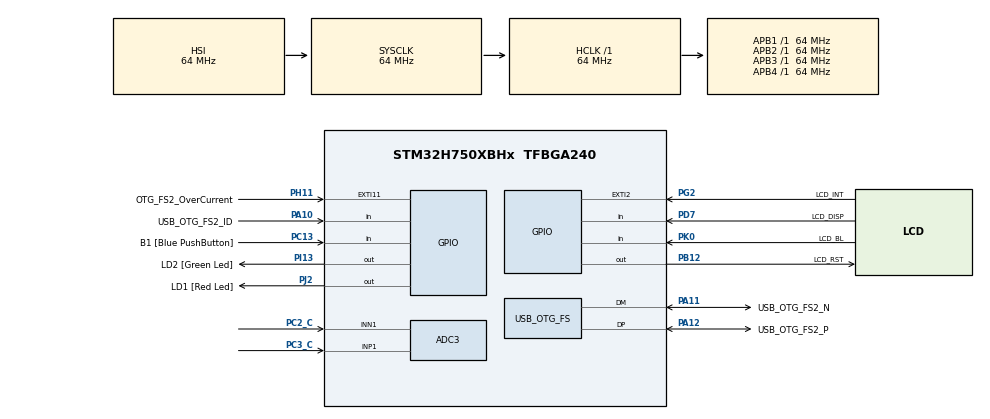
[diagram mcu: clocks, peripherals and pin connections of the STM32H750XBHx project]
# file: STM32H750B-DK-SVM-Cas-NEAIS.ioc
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ADC3.Channel-0\#ChannelRegularConversion=ADC_CHANNEL_1
ADC3.NbrOfConversionFlag=1
ADC3.OffsetNumber-0\#ChannelRegularConversion=ADC_OFFSET_NONE
ADC3.Rank-0\#ChannelRegularConversion=1
ADC3.SamplingTime-0\#ChannelRegularConversion=ADC_SAMPLETIME_1CYCLE_5
ADC3.SingleDiff-0\#ChannelRegularConversion=ADC_DIFFERENTIAL_ENDED
Mcu.Family=STM32H7
Mcu.Name=STM32H750XBHx
Mcu.Package=TFBGA240
NVIC.OTG_FS_IRQn=true\:0\:0\:false\:false\:true\:false\:true\:true
NVIC.PriorityGroup=NVIC_PRIORITYGROUP_4
PA0_C.Signal=ADCx_INP0
PA1.GPIO_Label=MII_RX_CLK
PA1.Signal=ETH_RX_CLK
PA10.GPIO_Label=USB_OTG_FS2_ID
PA10.Signal=GPIO_Input
PA11.GPIO_Label=USB_OTG_FS2_N
PA11.Mode=Device_Only
PA11.Signal=USB_OTG_FS_DM
PA12.GPIO_Label=USB_OTG_FS2_P
PA12.Mode=Device_Only
PA12.Signal=USB_OTG_FS_DP
PA1_C.Signal=ADCx_INP1
PA2.GPIO_Label=MII_MDIO
PA2.Signal=ETH_MDIO
PA6.Signal=S_TIM13_CH1
PA7.GPIO_Label=MII_RX_DV
PA7.Signal=ETH_RX_DV
PA8.Signal=S_TIM1_CH1
PA9.GPIO_Label=VBUS_FS2
PA9.Signal=USB_OTG_FS_VBUS
PB0.GPIO_Label=MII_RX_D2
PB0.Signal=ETH_RXD2
PB1.GPIO_Label=MII_RX_D3
PB1.Signal=ETH_RXD3
PB10.GPIO_Label=VCP_TX
PB10.Signal=USART3_TX
PB11.GPIO_Label=VCP_RX
PB11.Signal=USART3_RX
PB12.GPIO_Label=LCD_RST
PB12.Signal=GPIO_Output
PB13.GPIO_Label=FDCAN2_TX
PB13.Signal=FDCAN2_TX
PB15.Signal=SPI2_MOSI
PB4\ (NJTRST).Signal=SPI2_NSS
PB5.GPIO_Label=FDCAN2_RX
PB5.Signal=FDCAN2_RX
PB6.Signal=QUADSPI_BK1_NCS
PB8.GPIO_Label=SDIO1_D4
PB8.Signal=SDMMC1_D4
PB9.GPIO_Label=SDIO1_D5
PB9.Signal=SDMMC1_D5
PC0.Signal=ADCx_INP10
PC1.GPIO_Label=MII_MDC
PC1.Signal=ETH_MDC
PC10.GPIO_Label=SDIO1_D2
PC10.Signal=SDMMC1_D2
PC11.GPIO_Label=SDIO1_D3
PC11.Signal=SDMMC1_D3
PC12.GPIO_Label=SDIO1_CK
PC12.Signal=SDMMC1_CK
PC13.GPIO_Label=B1 [Blue PushButton]
PC13.Signal=GPIO_Input
PC14-OSC32_IN\ (OSC32_IN).GPIO_Label=OSC32_IN
PC14-OSC32_IN\ (OSC32_IN).Mode=LSE-External-Clock-Source
PC14-OSC32_IN\ (OSC32_IN).Signal=RCC_OSC32_IN
PC15-OSC32_OUT\ (OSC32_OUT).GPIO_Label=OSC32_OUT
PC15-OSC32_OUT\ (OSC32_OUT).Signal=RCC_OSC32_OUT
PC2.GPIO_Label=MII_TXD2
PC2.Signal=ETH_TXD2
PC2_C.Signal=SharedAnalog_PC2
PC3.GPIO_Label=MII_TX_CLK
PC3.Signal=ETH_TX_CLK
PC3_C.Mode=IN1-Differential
PC3_C.Signal=ADC3_INP1
PC4.GPIO_Label=MII_RXD0
PC4.Signal=ETH_RXD0
PC5.GPIO_Label=MII_RXD1
PC5.Signal=ETH_RXD1
PC6.GPIO_Label=SDIO1_D6
PC6.Signal=SDMMC1_D6
PC7.GPIO_Label=SDIO1_D7
PC7.Signal=SDMMC1_D7
PC8.GPIO_Label=SDIO1_D0
PC8.Signal=SDMMC1_D0
PC9.GPIO_Label=SDIO1_D1
PC9.Signal=SDMMC1_D1
PD0.Signal=FMC_D2_DA2
PD1.Signal=FMC_D3_DA3
PD10.Signal=FMC_D15_DA15
PD11.Signal=QUADSPI_BK1_IO0
PD14.Signal=FMC_D0_DA0
PD15.Signal=FMC_D1_DA1
PD2.GPIO_Label=SDIO1_CMD
PD2.Signal=SDMMC1_CMD
PD3.Signal=SPI2_SCK
PD7.GPIO_Label=LCD_DISP
PD7.Signal=GPIO_Input
PD8.Signal=FMC_D13_DA13
PD9.Signal=FMC_D14_DA14
PE0.Signal=FMC_NBL0
PE1.Signal=FMC_NBL1
PE10.Signal=FMC_D7_DA7
PE11.Signal=FMC_D8_DA8
PE12.Signal=FMC_D9_DA9
PE13.Signal=FMC_D10_DA10
PE14.Signal=FMC_D11_DA11
PE15.Signal=FMC_D12_DA12
PE2.GPIO_Label=MII_TXD3
PE2.Signal=ETH_TXD3
PE4.Signal=SAI4_D2
PE5.Signal=SAI4_CK2
PE7.Signal=FMC_D4_DA4
PE8.Signal=FMC_D5_DA5
PE9.Signal=FMC_D6_DA6
PF0.Signal=FMC_A0
PF1.Signal=FMC_A1
PF10.Signal=QUADSPI_CLK
PF11.Signal=FMC_SDNRAS
PF12.Signal=FMC_A6
PF13.Signal=FMC_A7
PF14.Signal=FMC_A8
PF15.Signal=FMC_A9
PF2.Signal=FMC_A2
PF3.Signal=FMC_A3
PF4.Signal=FMC_A4
PF5.Signal=FMC_A5
PF6.Signal=QUADSPI_BK1_IO3
PF7.Signal=QUADSPI_BK1_IO2
PF8.Signal=ADC3_INP7
PF9.Signal=QUADSPI_BK1_IO1
PG0.Signal=FMC_A10
PG1.Signal=FMC_A11
PG10.Signal=SAI2_SD_B
PG11.GPIO_Label=MII_TX_EN
PG11.Signal=ETH_TX_EN
PG12.GPIO_Label=MII_TXD1
PG12.Signal=ETH_TXD1
PG13.GPIO_Label=MII_TXD0
PG13.Signal=ETH_TXD0
PG15.Signal=FMC_SDNCAS
PG2.GPIO_Label=LCD_INT
PG2.Signal=GPXTI2
PG4.Signal=FMC_A14_BA0
PG5.Signal=FMC_A15_BA1
PG8.Signal=FMC_SDCLK
PH0-OSC_IN\ (PH0).GPIO_Label=OSC_IN
PH0-OSC_IN\ (PH0).Mode=HSE-External-Clock-Source
PH0-OSC_IN\ (PH0).Signal=RCC_OSC_IN
PH1-OSC_OUT\ (PH1).GPIO_Label=OSC_OUT
PH1-OSC_OUT\ (PH1).Signal=RCC_OSC_OUT
PH11.GPIO_Label=OTG_FS2_OverCurrent
PH11.Signal=GPXTI11
PH13.GPIO_Label=FDCAN1_TX
PH13.Signal=FDCAN1_TX
PH14.GPIO_Label=FDCAN1_RX
PH14.Signal=FDCAN1_RX
PH15.Signal=TIM8_CH3N
PH2.GPIO_Label=MII_CRS
PH2.Signal=ETH_CRS
PH3.GPIO_Label=MII_COL
PH3.Signal=ETH_COL
PH5.Signal=FMC_SDNWE
PH6.Signal=FMC_SDNE1
PH7.Signal=FMC_SDCKE1
PH9.Signal=LTDC_R3
PI0.Signal=LTDC_G5
PI1.Signal=LTDC_G6
PI10.GPIO_Label=MII_RX_ER
PI10.Signal=ETH_RX_ER
PI12.Signal=LTDC_HSYNC
PI13.GPIO_Label=LD2 [Green Led]
PI13.Signal=GPIO_Output
PI14.Signal=LTDC_CLK
PI15.Signal=LTDC_R0
PI2.Signal=SPI2_MISO
PI4.Signal=SAI2_MCLK_A
PI5.Signal=SAI2_SCK_A
PI6.Signal=SAI2_SD_A
PI7.Signal=SAI2_FS_A
PI9.Signal=LTDC_VSYNC
PJ0.Signal=LTDC_R1
PJ1.Signal=LTDC_R2
PJ10.Signal=LTDC_G3
PJ11.Signal=LTDC_G4
PJ12.Signal=LTDC_B0
PJ13.Signal=LTDC_B1
PJ14.Signal=LTDC_B2
PJ15.GPIO_Label=LCD_DISP
PJ15.Signal=LTDC_B3
PJ2.GPIO_Label=LD1 [Red Led]
PJ2.Signal=GPIO_Output
PJ3.Signal=LTDC_R4
PJ4.Signal=LTDC_R5
PJ5.Signal=LTDC_R6
PJ6.Signal=LTDC_R7
PJ7.Signal=LTDC_G0
PJ8.Signal=LTDC_G1
PJ9.Signal=LTDC_G2
PK0.GPIO_Label=LCD_BL
PK0.Signal=GPIO_Input
PK2.Signal=LTDC_G7
PK3.Signal=LTDC_B4
PK4.Signal=LTDC_B5
PK5.Signal=LTDC_B6
PK6.Signal=LTDC_B7
PK7.Signal=LTDC_DE
ProjectManager.HeapSize=0x200
ProjectManager.StackSize=0x400
ProjectManager.TargetToolchain=STM32CubeIDE
RCC.ADCFreq_Value=37500000
RCC.APB1Freq_Value=64000000
RCC.APB2Freq_Value=64000000
RCC.APB3Freq_Value=64000000
RCC.APB4Freq_Value=64000000
RCC.CortexFreq_Value=64000000
RCC.DIVM1=22
RCC.DIVM2=2
RCC.DIVN1=169
RCC.DIVN2=12
RCC.DIVP2=4
RCC.DIVQ1=4
RCC.HCLKFreq_Value=64000000
RCC.PLL2FRACN=0
RCC.PLL3FRACN=0
RCC.PLLFRACN=0
RCC.PLLSourceVirtual=RCC_PLLSOURCE_HSE
RCC.SYSCLKFreq_VALUE=64000000
RCC.USBFreq_Value=48011363.63636364
SH.ADCx_INP0.0=ADC1_INP0
SH.ADCx_INP0.1=ADC2_INP0
SH.ADCx_INP1.0=ADC1_INP1
SH.ADCx_INP1.1=ADC2_INP1
SH.ADCx_INP10.0=ADC1_INP10
SH.ADCx_INP10.1=ADC3_INP10
SH.FMC_A0.0=FMC_A0
SH.FMC_A1.0=FMC_A1
SH.FMC_A10.0=FMC_A10
SH.FMC_A11.0=FMC_A11
SH.FMC_A14_BA0.0=FMC_BA0
SH.FMC_A15_BA1.0=FMC_BA1
SH.FMC_A2.0=FMC_A2
SH.FMC_A3.0=FMC_A3
SH.FMC_A4.0=FMC_A4
SH.FMC_A5.0=FMC_A5
SH.FMC_A6.0=FMC_A6
SH.FMC_A7.0=FMC_A7
SH.FMC_A8.0=FMC_A8
SH.FMC_A9.0=FMC_A9
SH.FMC_D0_DA0.0=FMC_D0
SH.FMC_D10_DA10.0=FMC_D10
SH.FMC_D11_DA11.0=FMC_D11
SH.FMC_D12_DA12.0=FMC_D12
SH.FMC_D13_DA13.0=FMC_D13
SH.FMC_D14_DA14.0=FMC_D14
SH.FMC_D15_DA15.0=FMC_D15
SH.FMC_D1_DA1.0=FMC_D1
SH.FMC_D2_DA2.0=FMC_D2
SH.FMC_D3_DA3.0=FMC_D3
SH.FMC_D4_DA4.0=FMC_D4
SH.FMC_D5_DA5.0=FMC_D5
SH.FMC_D6_DA6.0=FMC_D6
SH.FMC_D7_DA7.0=FMC_D7
SH.FMC_D8_DA8.0=FMC_D8
SH.FMC_D9_DA9.0=FMC_D9
SH.FMC_NBL0.0=FMC_NBL0
SH.FMC_NBL1.0=FMC_NBL1
SH.FMC_SDCLK.0=FMC_SDCLK
SH.FMC_SDNCAS.0=FMC_SDNCAS
SH.FMC_SDNRAS.0=FMC_SDNRAS
SH.FMC_SDNWE.0=FMC_SDNWE
SH.S_TIM13_CH1.0=TIM13_CH1
SH.S_TIM1_CH1.0=TIM1_CH1
SH.SharedAnalog_PC2.0=ADC3_INP0
SH.SharedAnalog_PC2.1=ADC3_INN1,IN1-Differential
TIM16.Prescaler=64 - 1
USB_DEVICE.CLASS_NAME_FS=CDC
USB_DEVICE.VirtualMode-CDC_FS=Cdc
USB_DEVICE.VirtualModeFS=Cdc_FS
USB_OTG_FS.VirtualMode=Device_Only
VP_TIM16_VS_ClockSourceINT.Mode=Enable_Timer
VP_USB_DEVICE_VS_USB_DEVICE_CDC_FS.Mode=CDC_FS
board=STM32H750B-DK

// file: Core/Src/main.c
/* USER CODE BEGIN Header */
/**
  ******************************************************************************
  * @file           : main.c
  * @brief          : Main program body
  ******************************************************************************
  * @attention
  *
  * Copyright (c) 2023 STMicroelectronics.
  * All rights reserved.
  *
  * This software is licensed under terms that can be found in the LICENSE file
  * in the root directory of this software component.
  * If no LICENSE file comes with this software, it is provided AS-IS.
  *
  ******************************************************************************
  */
/* USER CODE END Header */
#include "main.h"
#include "usb_device.h"

/* USER CODE BEGIN Includes */

#include "NanoEdgeAI.h"
#include "knowledge.h"

/* USER CODE END Includes */

/* USER CODE BEGIN PD */

#define SIGNAL_SIZE (uint32_t)(DATA_INPUT_USER * AXIS_NUMBER)

uint16_t id_class = 0; // Point to id class (see argument of neai_classification fct)
float input_user_buffer[DATA_INPUT_USER * AXIS_NUMBER]; // Buffer of input values
float output_class_buffer[CLASS_NUMBER]; // Buffer of class probabilities
const char *id2class[CLASS_NUMBER + 1] = { // Buffer for mapping class id to class name
	"unknown",
	"mirovanje",
	"srednja_jakost",
	"velika_jakost",
};

#define BUFSIZE 256
char	SendBuffer[BUFSIZE];

int counterOfTestData = 0;

int numberOfDurations = 100;
uint32_t averageDurationValue = 0;
int countDurations = 0;

float testData[] = {2.466293163028155e-07, 2.453839476057596e-07, 1.787794572383206e-07, 4.025996696022105e-07, 1.0707693554046216e-06,
		2.729905010934175e-07, 1.3036247592523864e-07, 2.2338122973586397e-07, 1.3165442847018485e-07, 2.3984931973863866e-07, 2.1334496858038682e-07,
		2.0199179706636985e-07, 1.7792400686111878e-07, 1.9232686399028864e-07, 2.239820435789852e-07, 2.470156319489547e-07, 2.1608693634433962e-07,
		1.7976643729156194e-07, 2.502192206765841e-07, 2.4656127273203765e-07, 2.252821247328285e-07, 1.785019880795602e-07, 2.3686227113017821e-07,
		2.3654482861346082e-07, 2.4569974921284654e-07, 2.477296949798813e-07, 2.4756893313160333e-07, 2.448707572266784e-07, 2.4626766670365896e-07,
		2.530734666272849e-07, 2.416840203522952e-07, 2.2586991166306802e-07, 2.4109893281831773e-07, 2.4725173841666503e-07, 2.349033894066821e-07,
		2.45674404153462e-07, 2.4842346468823e-07, 2.2700569490829994e-07, 2.449630338574593e-07, 2.2648041730910506e-07, 2.4978005619402666e-07,
		2.2830073342916535e-07, 2.484234651323192e-07, 2.4574360790730054e-07, 2.5076875354024253e-07, 2.1554745943674905e-07, 2.3641005797436779e-07,
		2.3391676284845173e-07, 2.375023833156576e-07, 1.5416373022603125e-07, 2.495342270592005e-07, 2.362046149784192e-07, 2.499518234611031e-07,
		2.505450524825648e-07, 2.509931722460834e-07, 2.491407766758158e-07, 1.9851194132947117e-07, 2.491465669329785e-07, 2.5081921317671174e-07,
		2.230854252438519e-07, 0.256451198750973, 1.1918942990122336, 1.0293003995621546, 0.5689617519490024, 0.4849488920212286, 0.8396363990899536,
		0.6201024630104675, 0.2451725748990894, 0.1538014389798288, 0.3742534809190609, 0.5182572232891705, 0.3480426817181965, 0.8115067232967563,
		0.6440393256179897, 0.1044263809635388, 0.1330492127410241, 0.781979073977197, 0.7378801145093243, 0.4570705142392151, 0.3131418982694898,
		0.1969119773092773, 0.826044266643114, 0.7284551128741812, 0.2382233256152621, 0.1390090133653458, 0.0967863205089494, 0.0532680353946934,
		0.0615622048812092, 0.0655417319083651, 0.5180131893866129, 0.6762755065587278, 0.5565364882091748, 0.909664035907487, 0.226389319235484,
		0.1699153034065674, 0.0739804613826047, 0.1295739706696399, 0.1594842793529687, 0.112173366179002, 0.1551887258876765, 0.1649648111876471,
		0.1662311079016247, 0.1639636668152082, 0.1285992730326559, 0.3524494340078083, 0.2946016053366929, 0.4758711215421314, 0.697207179349093,
		0.2949559494226179, 0.059913021111474, 0.0664212463374218, 0.6256707359550862, 0.4341567752196935, 0.1017664851436492, 0.2240307047976015,
		0.2810140341420828, 0.05051557143033, 0.1204609548782085, 0.2399269996401658, 0.1730092414374542, 0.09235465924514, 0.076406017545473,
		0.070062006369594, 0.1403729124741943, 0.1165051791192288, 0.0214672249327163, 0.0104785010609842, 0.0512318323245908, 0.1345758672777912,
		0.0932879022140888, 0.012836055578719, 0.0018102213035029, 0.0026657752970722, 0.0044054513831612, 0.1395531316215335, 0.1767293099454576,
		0.0285507970958898, 0.0091906895773383, 0.0031080255712305, 0.0042489372701792, 0.001605549966819, 0.0023704671795079, 0.0090257444695729,
		0.0043746818613776, 0.0056423240470078, 0.0327811373680542, 0.0713568244450605, 0.0155183904590678, 0.0142869387992841, 0.0171313901070397,
		0.0016316366637376, 0.0021597943589866, 0.0039313461873593, 0.0145222488013982, 0.0148580110788096, 0.0113824855963475, 0.0070561603245047,
		0.0030164582616158, 0.1358820693679601, 0.0815997292981953, 0.1529422670098137, 0.1630049114280112, 0.0065703476146865, 0.0078270896795291,
		0.0069769410286295, 0.0029278877516287, 0.0015234274508855, 0.0012565872701151, 0.0035783151031552, 0.010224420781147, 0.0623567194972176,
		0.1401663850253749, 0.1055609897804381, 0.0910324363731371, 0.0280231276892524, 0.0192889164056884, 0.0211591592717421, 0.0201516400389976,
		0.0203900934865008, 0.0205685504661767, 0.0245678338462753, 0.0224581217865558, 0.015439502276715, 0.0068437521567108};

int sizeOfTestData = sizeof(testData) / sizeof(testData[0]);

uint32_t timestamp;

/* USER CODE END PD */

ADC_HandleTypeDef hadc3;

TIM_HandleTypeDef htim16;

void SystemClock_Config(void);
static void MX_GPIO_Init(void);
static void MX_ADC3_Init(void);
static void MX_TIM16_Init(void);
/* USER CODE BEGIN PFP */

void FillBuffer(float* buffer, uint32_t size);
void Inference(void);

/* USER CODE END PFP */

int main(void)
{

  /* MCU Configuration--------------------------------------------------------*/

  /* Reset of all peripherals, Initializes the Flash interface and the Systick. */
  HAL_Init();

  /* Configure the system clock */
  SystemClock_Config();

  /* Initialize all configured peripherals */
  MX_GPIO_Init();
  MX_ADC3_Init();
  MX_TIM16_Init();
  MX_USB_DEVICE_Init();

  /* Infinite loop */
  /* USER CODE BEGIN WHILE */

  HAL_TIM_Base_Start(&htim16);

     enum neai_state error_code = neai_classification_init(knowledge);
       if(error_code != NEAI_OK) {
     	  snprintf(SendBuffer,BUFSIZE,"Napaka pri inicializaciji znanja. \r\n");
     	  CDC_Transmit_FS(SendBuffer,strlen(SendBuffer));

     	  Error_Handler();
       }
       else {
     	  snprintf(SendBuffer,BUFSIZE,"Opravljena inicializacija znanja. \r\n");
     	  CDC_Transmit_FS(SendBuffer,strlen(SendBuffer));
       }

  while (1)
  {
	  Inference();
    /* USER CODE END WHILE */

  }
}

void SystemClock_Config(void)
{
  RCC_OscInitTypeDef RCC_OscInitStruct = {0};
  RCC_ClkInitTypeDef RCC_ClkInitStruct = {0};

  /** Supply configuration update enable
  */
  HAL_PWREx_ConfigSupply(PWR_LDO_SUPPLY);

  /** Configure the main internal regulator output voltage
  */
  __HAL_PWR_VOLTAGESCALING_CONFIG(PWR_REGULATOR_VOLTAGE_SCALE3);

  while(!__HAL_PWR_GET_FLAG(PWR_FLAG_VOSRDY)) {}

  /** Initializes the RCC Oscillators according to the specified parameters
  * in the RCC_OscInitTypeDef structure.
  */
  RCC_OscInitStruct.OscillatorType = RCC_OSCILLATORTYPE_HSI|RCC_OSCILLATORTYPE_HSE;
  RCC_OscInitStruct.HSEState = RCC_HSE_BYPASS;
  RCC_OscInitStruct.HSIState = RCC_HSI_DIV1;
  RCC_OscInitStruct.HSICalibrationValue = RCC_HSICALIBRATION_DEFAULT;
  RCC_OscInitStruct.PLL.PLLState = RCC_PLL_ON;
  RCC_OscInitStruct.PLL.PLLSource = RCC_PLLSOURCE_HSE;
  RCC_OscInitStruct.PLL.PLLM = 22;
  RCC_OscInitStruct.PLL.PLLN = 169;
  RCC_OscInitStruct.PLL.PLLP = 2;
  RCC_OscInitStruct.PLL.PLLQ = 4;
  RCC_OscInitStruct.PLL.PLLR = 2;
  RCC_OscInitStruct.PLL.PLLRGE = RCC_PLL1VCIRANGE_0;
  RCC_OscInitStruct.PLL.PLLVCOSEL = RCC_PLL1VCOWIDE;
  RCC_OscInitStruct.PLL.PLLFRACN = 0;
  if (HAL_RCC_OscConfig(&RCC_OscInitStruct) != HAL_OK)
  {
    Error_Handler();
  }

  /** Initializes the CPU, AHB and APB buses clocks
  */
  RCC_ClkInitStruct.ClockType = RCC_CLOCKTYPE_HCLK|RCC_CLOCKTYPE_SYSCLK
                              |RCC_CLOCKTYPE_PCLK1|RCC_CLOCKTYPE_PCLK2
                              |RCC_CLOCKTYPE_D3PCLK1|RCC_CLOCKTYPE_D1PCLK1;
  RCC_ClkInitStruct.SYSCLKSource = RCC_SYSCLKSOURCE_HSI;
  RCC_ClkInitStruct.SYSCLKDivider = RCC_SYSCLK_DIV1;
  RCC_ClkInitStruct.AHBCLKDivider = RCC_HCLK_DIV1;
  RCC_ClkInitStruct.APB3CLKDivider = RCC_APB3_DIV1;
  RCC_ClkInitStruct.APB1CLKDivider = RCC_APB1_DIV1;
  RCC_ClkInitStruct.APB2CLKDivider = RCC_APB2_DIV1;
  RCC_ClkInitStruct.APB4CLKDivider = RCC_APB4_DIV1;

  if (HAL_RCC_ClockConfig(&RCC_ClkInitStruct, FLASH_LATENCY_1) != HAL_OK)
  {
    Error_Handler();
  }
}

static void MX_ADC3_Init(void)
{

  ADC_ChannelConfTypeDef sConfig = {0};

  /** Common config
  */
  hadc3.Instance = ADC3;
  hadc3.Init.Resolution = ADC_RESOLUTION_16B;
  hadc3.Init.ScanConvMode = ADC_SCAN_DISABLE;
  hadc3.Init.EOCSelection = ADC_EOC_SINGLE_CONV;
  hadc3.Init.LowPowerAutoWait = DISABLE;
  hadc3.Init.ContinuousConvMode = DISABLE;
  hadc3.Init.NbrOfConversion = 1;
  hadc3.Init.DiscontinuousConvMode = DISABLE;
  hadc3.Init.ExternalTrigConv = ADC_SOFTWARE_START;
  hadc3.Init.ExternalTrigConvEdge = ADC_EXTERNALTRIGCONVEDGE_NONE;
  hadc3.Init.ConversionDataManagement = ADC_CONVERSIONDATA_DR;
  hadc3.Init.Overrun = ADC_OVR_DATA_PRESERVED;
  hadc3.Init.LeftBitShift = ADC_LEFTBITSHIFT_NONE;
  hadc3.Init.OversamplingMode = DISABLE;
  if (HAL_ADC_Init(&hadc3) != HAL_OK)
  {
    Error_Handler();
  }

  /** Configure Regular Channel
  */
  sConfig.Channel = ADC_CHANNEL_1;
  sConfig.Rank = ADC_REGULAR_RANK_1;
  sConfig.SamplingTime = ADC_SAMPLETIME_1CYCLE_5;
  sConfig.SingleDiff = ADC_DIFFERENTIAL_ENDED;
  sConfig.OffsetNumber = ADC_OFFSET_NONE;
  sConfig.Offset = 0;
  sConfig.OffsetSignedSaturation = DISABLE;
  if (HAL_ADC_ConfigChannel(&hadc3, &sConfig) != HAL_OK)
  {
    Error_Handler();
  }

}

static void MX_TIM16_Init(void)
{

  htim16.Instance = TIM16;
  htim16.Init.Prescaler = 64 - 1;
  htim16.Init.CounterMode = TIM_COUNTERMODE_UP;
  htim16.Init.Period = 65535;
  htim16.Init.ClockDivision = TIM_CLOCKDIVISION_DIV1;
  htim16.Init.RepetitionCounter = 0;
  htim16.Init.AutoReloadPreload = TIM_AUTORELOAD_PRELOAD_DISABLE;
  if (HAL_TIM_Base_Init(&htim16) != HAL_OK)
  {
    Error_Handler();
  }

}

static void MX_GPIO_Init(void)
{
  GPIO_InitTypeDef GPIO_InitStruct = {0};

  /* GPIO Ports Clock Enable */
  __HAL_RCC_GPIOI_CLK_ENABLE();
  __HAL_RCC_GPIOB_CLK_ENABLE();
  __HAL_RCC_GPIOK_CLK_ENABLE();
  __HAL_RCC_GPIOG_CLK_ENABLE();
  __HAL_RCC_GPIOC_CLK_ENABLE();
  __HAL_RCC_GPIOE_CLK_ENABLE();
  __HAL_RCC_GPIOJ_CLK_ENABLE();
  __HAL_RCC_GPIOD_CLK_ENABLE();
  __HAL_RCC_GPIOH_CLK_ENABLE();
  __HAL_RCC_GPIOA_CLK_ENABLE();
  __HAL_RCC_GPIOF_CLK_ENABLE();

  /*Configure GPIO pin Output Level */
  HAL_GPIO_WritePin(LD2_GPIO_Port, LD2_Pin, GPIO_PIN_RESET);

  /*Configure GPIO pin Output Level */
  HAL_GPIO_WritePin(LD1_GPIO_Port, LD1_Pin, GPIO_PIN_RESET);

  /*Configure GPIO pin Output Level */
  HAL_GPIO_WritePin(LCD_RST_GPIO_Port, LCD_RST_Pin, GPIO_PIN_RESET);

  /*Configure GPIO pins : PI6 PI5 PI4 PI7 */
  GPIO_InitStruct.Pin = GPIO_PIN_6|GPIO_PIN_5|GPIO_PIN_4|GPIO_PIN_7;
  GPIO_InitStruct.Mode = GPIO_MODE_AF_PP;
  GPIO_InitStruct.Pull = GPIO_NOPULL;
  GPIO_InitStruct.Speed = GPIO_SPEED_FREQ_LOW;
  GPIO_InitStruct.Alternate = GPIO_AF10_SAI2;
  HAL_GPIO_Init(GPIOI, &GPIO_InitStruct);

  /*Configure GPIO pins : FDCAN2_RX_Pin FDCAN2_TX_Pin */
  GPIO_InitStruct.Pin = FDCAN2_RX_Pin|FDCAN2_TX_Pin;
  GPIO_InitStruct.Mode = GPIO_MODE_AF_PP;
  GPIO_InitStruct.Pull = GPIO_NOPULL;
  GPIO_InitStruct.Speed = GPIO_SPEED_FREQ_LOW;
  GPIO_InitStruct.Alternate = GPIO_AF9_FDCAN2;
  HAL_GPIO_Init(GPIOB, &GPIO_InitStruct);

  /*Configure GPIO pins : PK5 PK4 PK6 PK3
                           PK7 PK2 */
  GPIO_InitStruct.Pin = GPIO_PIN_5|GPIO_PIN_4|GPIO_PIN_6|GPIO_PIN_3
                          |GPIO_PIN_7|GPIO_PIN_2;
  GPIO_InitStruct.Mode = GPIO_MODE_AF_PP;
  GPIO_InitStruct.Pull = GPIO_NOPULL;
  GPIO_InitStruct.Speed = GPIO_SPEED_FREQ_LOW;
  GPIO_InitStruct.Alternate = GPIO_AF14_LTDC;
  HAL_GPIO_Init(GPIOK, &GPIO_InitStruct);

  /*Configure GPIO pin : PG10 */
  GPIO_InitStruct.Pin = GPIO_PIN_10;
  GPIO_InitStruct.Mode = GPIO_MODE_AF_PP;
  GPIO_InitStruct.Pull = GPIO_NOPULL;
  GPIO_InitStruct.Speed = GPIO_SPEED_FREQ_LOW;
  GPIO_InitStruct.Alternate = GPIO_AF10_SAI2;
  HAL_GPIO_Init(GPIOG, &GPIO_InitStruct);

  /*Configure GPIO pins : SDIO1_D2_Pin SDIO1_D3_Pin SDIO1_CK_Pin SDIO1_D0_Pin
                           SDIO1_D1_Pin SDIO1_D7_Pin SDIO1_D6_Pin */
  GPIO_InitStruct.Pin = SDIO1_D2_Pin|SDIO1_D3_Pin|SDIO1_CK_Pin|SDIO1_D0_Pin
                          |SDIO1_D1_Pin|SDIO1_D7_Pin|SDIO1_D6_Pin;
  GPIO_InitStruct.Mode = GPIO_MODE_AF_PP;
  GPIO_InitStruct.Pull = GPIO_NOPULL;
  GPIO_InitStruct.Speed = GPIO_SPEED_FREQ_VERY_HIGH;
  GPIO_InitStruct.Alternate = GPIO_AF12_SDIO1;
  HAL_GPIO_Init(GPIOC, &GPIO_InitStruct);

  /*Configure GPIO pins : PI1 PI0 PI9 PI12
                           PI14 PI15 */
  GPIO_InitStruct.Pin = GPIO_PIN_1|GPIO_PIN_0|GPIO_PIN_9|GPIO_PIN_12
                          |GPIO_PIN_14|GPIO_PIN_15;
  GPIO_InitStruct.Mode = GPIO_MODE_AF_PP;
  GPIO_InitStruct.Pull = GPIO_NOPULL;
  GPIO_InitStruct.Speed = GPIO_SPEED_FREQ_LOW;
  GPIO_InitStruct.Alternate = GPIO_AF14_LTDC;
  HAL_GPIO_Init(GPIOI, &GPIO_InitStruct);

  /*Configure GPIO pins : PE1 PE0 PE10 PE9
                           PE11 PE12 PE15 PE8
                           PE13 PE7 PE14 */
  GPIO_InitStruct.Pin = GPIO_PIN_1|GPIO_PIN_0|GPIO_PIN_10|GPIO_PIN_9
                          |GPIO_PIN_11|GPIO_PIN_12|GPIO_PIN_15|GPIO_PIN_8
                          |GPIO_PIN_13|GPIO_PIN_7|GPIO_PIN_14;
  GPIO_InitStruct.Mode = GPIO_MODE_AF_PP;
  GPIO_InitStruct.Pull = GPIO_NOPULL;
  GPIO_InitStruct.Speed = GPIO_SPEED_FREQ_VERY_HIGH;
  GPIO_InitStruct.Alternate = GPIO_AF12_FMC;
  HAL_GPIO_Init(GPIOE, &GPIO_InitStruct);

  /*Configure GPIO pin : PB6 */
  GPIO_InitStruct.Pin = GPIO_PIN_6;
  GPIO_InitStruct.Mode = GPIO_MODE_AF_PP;
  GPIO_InitStruct.Pull = GPIO_NOPULL;
  GPIO_InitStruct.Speed = GPIO_SPEED_FREQ_LOW;
  GPIO_InitStruct.Alternate = GPIO_AF10_QUADSPI;
  HAL_GPIO_Init(GPIOB, &GPIO_InitStruct);

  /*Configure GPIO pin : PB4 */
  GPIO_InitStruct.Pin = GPIO_PIN_4;
  GPIO_InitStruct.Mode = GPIO_MODE_AF_PP;
  GPIO_InitStruct.Pull = GPIO_NOPULL;
  GPIO_InitStruct.Speed = GPIO_SPEED_FREQ_LOW;
  GPIO_InitStruct.Alternate = GPIO_AF7_SPI2;
  HAL_GPIO_Init(GPIOB, &GPIO_InitStruct);

  /*Configure GPIO pins : MII_TX_EN_Pin MII_TXD1_Pin MII_TXD0_Pin */
  GPIO_InitStruct.Pin = MII_TX_EN_Pin|MII_TXD1_Pin|MII_TXD0_Pin;
  GPIO_InitStruct.Mode = GPIO_MODE_AF_PP;
  GPIO_InitStruct.Pull = GPIO_NOPULL;
  GPIO_InitStruct.Speed = GPIO_SPEED_FREQ_LOW;
  GPIO_InitStruct.Alternate = GPIO_AF11_ETH;
  HAL_GPIO_Init(GPIOG, &GPIO_InitStruct);

  /*Configure GPIO pins : LCD_DISP_Pin PJ14 PJ12 PJ13
                           PJ11 PJ10 PJ9 PJ0
                           PJ8 PJ7 PJ6 PJ1
                           PJ5 PJ3 PJ4 */
  GPIO_InitStruct.Pin = LCD_DISP_Pin|GPIO_PIN_14|GPIO_PIN_12|GPIO_PIN_13
                          |GPIO_PIN_11|GPIO_PIN_10|GPIO_PIN_9|GPIO_PIN_0
                          |GPIO_PIN_8|GPIO_PIN_7|GPIO_PIN_6|GPIO_PIN_1
                          |GPIO_PIN_5|GPIO_PIN_3|GPIO_PIN_4;
  GPIO_InitStruct.Mode = GPIO_MODE_AF_PP;
  GPIO_InitStruct.Pull = GPIO_NOPULL;
  GPIO_InitStruct.Speed = GPIO_SPEED_FREQ_LOW;
  GPIO_InitStruct.Alternate = GPIO_AF14_LTDC;
  HAL_GPIO_Init(GPIOJ, &GPIO_InitStruct);

  /*Configure GPIO pin : PD3 */
  GPIO_InitStruct.Pin = GPIO_PIN_3;
  GPIO_InitStruct.Mode = GPIO_MODE_AF_PP;
  GPIO_InitStruct.Pull = GPIO_NOPULL;
  GPIO_InitStruct.Speed = GPIO_SPEED_FREQ_LOW;
  GPIO_InitStruct.Alternate = GPIO_AF5_SPI2;
  HAL_GPIO_Init(GPIOD, &GPIO_InitStruct);

  /*Configure GPIO pin : PI2 */
  GPIO_InitStruct.Pin = GPIO_PIN_2;
  GPIO_InitStruct.Mode = GPIO_MODE_AF_PP;
  GPIO_InitStruct.Pull = GPIO_NOPULL;
  GPIO_InitStruct.Speed = GPIO_SPEED_FREQ_LOW;
  GPIO_InitStruct.Alternate = GPIO_AF5_SPI2;
  HAL_GPIO_Init(GPIOI, &GPIO_InitStruct);

  /*Configure GPIO pin : PH15 */
  GPIO_InitStruct.Pin = GPIO_PIN_15;
  GPIO_InitStruct.Mode = GPIO_MODE_AF_PP;
  GPIO_InitStruct.Pull = GPIO_NOPULL;
  GPIO_InitStruct.Speed = GPIO_SPEED_FREQ_LOW;
  GPIO_InitStruct.Alternate = GPIO_AF3_TIM8;
  HAL_GPIO_Init(GPIOH, &GPIO_InitStruct);

  /*Configure GPIO pins : FDCAN1_RX_Pin FDCAN1_TX_Pin */
  GPIO_InitStruct.Pin = FDCAN1_RX_Pin|FDCAN1_TX_Pin;
  GPIO_InitStruct.Mode = GPIO_MODE_AF_PP;
  GPIO_InitStruct.Pull = GPIO_NOPULL;
  GPIO_InitStruct.Speed = GPIO_SPEED_FREQ_LOW;
  GPIO_InitStruct.Alternate = GPIO_AF9_FDCAN1;
  HAL_GPIO_Init(GPIOH, &GPIO_InitStruct);

  /*Configure GPIO pin : MII_TXD3_Pin */
  GPIO_InitStruct.Pin = MII_TXD3_Pin;
  GPIO_InitStruct.Mode = GPIO_MODE_AF_PP;
  GPIO_InitStruct.Pull = GPIO_NOPULL;
  GPIO_InitStruct.Speed = GPIO_SPEED_FREQ_LOW;
  GPIO_InitStruct.Alternate = GPIO_AF11_ETH;
  HAL_GPIO_Init(MII_TXD3_GPIO_Port, &GPIO_InitStruct);

  /*Configure GPIO pin : LCD_DISPD7_Pin */
  GPIO_InitStruct.Pin = LCD_DISPD7_Pin;
  GPIO_InitStruct.Mode = GPIO_MODE_INPUT;
  GPIO_InitStruct.Pull = GPIO_NOPULL;
  HAL_GPIO_Init(LCD_DISPD7_GPIO_Port, &GPIO_InitStruct);

  /*Configure GPIO pins : PE5 PE4 */
  GPIO_InitStruct.Pin = GPIO_PIN_5|GPIO_PIN_4;
  GPIO_InitStruct.Mode = GPIO_MODE_AF_PP;
  GPIO_InitStruct.Pull = GPIO_NOPULL;
  GPIO_InitStruct.Speed = GPIO_SPEED_FREQ_LOW;
  GPIO_InitStruct.Alternate = GPIO_AF10_SAI4;
  HAL_GPIO_Init(GPIOE, &GPIO_InitStruct);

  /*Configure GPIO pins : SDIO1_D5_Pin SDIO1_D4_Pin */
  GPIO_InitStruct.Pin = SDIO1_D5_Pin|SDIO1_D4_Pin;
  GPIO_InitStruct.Mode = GPIO_MODE_AF_PP;
  GPIO_InitStruct.Pull = GPIO_NOPULL;
  GPIO_InitStruct.Speed = GPIO_SPEED_FREQ_VERY_HIGH;
  GPIO_InitStruct.Alternate = GPIO_AF12_SDIO1;
  HAL_GPIO_Init(GPIOB, &GPIO_InitStruct);

  /*Configure GPIO pins : PG15 PG8 PG5 PG4
                           PG0 PG1 */
  GPIO_InitStruct.Pin = GPIO_PIN_15|GPIO_PIN_8|GPIO_PIN_5|GPIO_PIN_4
                          |GPIO_PIN_0|GPIO_PIN_1;
  GPIO_InitStruct.Mode = GPIO_MODE_AF_PP;
  GPIO_InitStruct.Pull = GPIO_NOPULL;
  GPIO_InitStruct.Speed = GPIO_SPEED_FREQ_VERY_HIGH;
  GPIO_InitStruct.Alternate = GPIO_AF12_FMC;
  HAL_GPIO_Init(GPIOG, &GPIO_InitStruct);

  /*Configure GPIO pin : SDIO1_CMD_Pin */
  GPIO_InitStruct.Pin = SDIO1_CMD_Pin;
  GPIO_InitStruct.Mode = GPIO_MODE_AF_PP;
  GPIO_InitStruct.Pull = GPIO_NOPULL;
  GPIO_InitStruct.Speed = GPIO_SPEED_FREQ_VERY_HIGH;
  GPIO_InitStruct.Alternate = GPIO_AF12_SDIO1;
  HAL_GPIO_Init(SDIO1_CMD_GPIO_Port, &GPIO_InitStruct);

  /*Configure GPIO pins : PD0 PD1 PD15 PD14
                           PD10 PD9 PD8 */
  GPIO_InitStruct.Pin = GPIO_PIN_0|GPIO_PIN_1|GPIO_PIN_15|GPIO_PIN_14
                          |GPIO_PIN_10|GPIO_PIN_9|GPIO_PIN_8;
  GPIO_InitStruct.Mode = GPIO_MODE_AF_PP;
  GPIO_InitStruct.Pull = GPIO_NOPULL;
  GPIO_InitStruct.Speed = GPIO_SPEED_FREQ_VERY_HIGH;
  GPIO_InitStruct.Alternate = GPIO_AF12_FMC;
  HAL_GPIO_Init(GPIOD, &GPIO_InitStruct);

  /*Configure GPIO pin : USB_OTG_FS2_ID_Pin */
  GPIO_InitStruct.Pin = USB_OTG_FS2_ID_Pin;
  GPIO_InitStruct.Mode = GPIO_MODE_INPUT;
  GPIO_InitStruct.Pull = GPIO_NOPULL;
  HAL_GPIO_Init(USB_OTG_FS2_ID_GPIO_Port, &GPIO_InitStruct);

  /*Configure GPIO pin : B1_Pin */
  GPIO_InitStruct.Pin = B1_Pin;
  GPIO_InitStruct.Mode = GPIO_MODE_INPUT;
  GPIO_InitStruct.Pull = GPIO_NOPULL;
  HAL_GPIO_Init(B1_GPIO_Port, &GPIO_InitStruct);

  /*Configure GPIO pin : PA8 */
  GPIO_InitStruct.Pin = GPIO_PIN_8;
  GPIO_InitStruct.Mode = GPIO_MODE_AF_PP;
  GPIO_InitStruct.Pull = GPIO_NOPULL;
  GPIO_InitStruct.Speed = GPIO_SPEED_FREQ_LOW;
  GPIO_InitStruct.Alternate = GPIO_AF1_TIM1;
  HAL_GPIO_Init(GPIOA, &GPIO_InitStruct);

  /*Configure GPIO pin : MII_RX_ER_Pin */
  GPIO_InitStruct.Pin = MII_RX_ER_Pin;
  GPIO_InitStruct.Mode = GPIO_MODE_AF_PP;
  GPIO_InitStruct.Pull = GPIO_NOPULL;
  GPIO_InitStruct.Speed = GPIO_SPEED_FREQ_LOW;
  GPIO_InitStruct.Alternate = GPIO_AF11_ETH;
  HAL_GPIO_Init(MII_RX_ER_GPIO_Port, &GPIO_InitStruct);

  /*Configure GPIO pins : PF2 PF1 PF0 PF3
                           PF5 PF4 PF13 PF14
                           PF12 PF15 PF11 */
  GPIO_InitStruct.Pin = GPIO_PIN_2|GPIO_PIN_1|GPIO_PIN_0|GPIO_PIN_3
                          |GPIO_PIN_5|GPIO_PIN_4|GPIO_PIN_13|GPIO_PIN_14
                          |GPIO_PIN_12|GPIO_PIN_15|GPIO_PIN_11;
  GPIO_InitStruct.Mode = GPIO_MODE_AF_PP;
  GPIO_InitStruct.Pull = GPIO_NOPULL;
  GPIO_InitStruct.Speed = GPIO_SPEED_FREQ_VERY_HIGH;
  GPIO_InitStruct.Alternate = GPIO_AF12_FMC;
  HAL_GPIO_Init(GPIOF, &GPIO_InitStruct);

  /*Configure GPIO pin : LD2_Pin */
  GPIO_InitStruct.Pin = LD2_Pin;
  GPIO_InitStruct.Mode = GPIO_MODE_OUTPUT_PP;
  GPIO_InitStruct.Pull = GPIO_NOPULL;
  GPIO_InitStruct.Speed = GPIO_SPEED_FREQ_LOW;
  HAL_GPIO_Init(LD2_GPIO_Port, &GPIO_InitStruct);

  /*Configure GPIO pin : LCD_INT_Pin */
  GPIO_InitStruct.Pin = LCD_INT_Pin;
  GPIO_InitStruct.Mode = GPIO_MODE_IT_RISING;
  GPIO_InitStruct.Pull = GPIO_NOPULL;
  HAL_GPIO_Init(LCD_INT_GPIO_Port, &GPIO_InitStruct);

  /*Configure GPIO pin : LCD_BL_Pin */
  GPIO_InitStruct.Pin = LCD_BL_Pin;
  GPIO_InitStruct.Mode = GPIO_MODE_INPUT;
  GPIO_InitStruct.Pull = GPIO_NOPULL;
  HAL_GPIO_Init(LCD_BL_GPIO_Port, &GPIO_InitStruct);

  /*Configure GPIO pins : PF6 PF7 PF10 */
  GPIO_InitStruct.Pin = GPIO_PIN_6|GPIO_PIN_7|GPIO_PIN_10;
  GPIO_InitStruct.Mode = GPIO_MODE_AF_PP;
  GPIO_InitStruct.Pull = GPIO_NOPULL;
  GPIO_InitStruct.Speed = GPIO_SPEED_FREQ_LOW;
  GPIO_InitStruct.Alternate = GPIO_AF9_QUADSPI;
  HAL_GPIO_Init(GPIOF, &GPIO_InitStruct);

  /*Configure GPIO pin : PC0 */
  GPIO_InitStruct.Pin = GPIO_PIN_0;
  GPIO_InitStruct.Mode = GPIO_MODE_ANALOG;
  GPIO_InitStruct.Pull = GPIO_NOPULL;
  HAL_GPIO_Init(GPIOC, &GPIO_InitStruct);

  /*Configure GPIO pin : PF9 */
  GPIO_InitStruct.Pin = GPIO_PIN_9;
  GPIO_InitStruct.Mode = GPIO_MODE_AF_PP;
  GPIO_InitStruct.Pull = GPIO_NOPULL;
  GPIO_InitStruct.Speed = GPIO_SPEED_FREQ_LOW;
  GPIO_InitStruct.Alternate = GPIO_AF10_QUADSPI;
  HAL_GPIO_Init(GPIOF, &GPIO_InitStruct);

  /*Configure GPIO pins : MII_MDC_Pin MII_TXD2_Pin MII_TX_CLK_Pin MII_RXD0_Pin
                           MII_RXD1_Pin */
  GPIO_InitStruct.Pin = MII_MDC_Pin|MII_TXD2_Pin|MII_TX_CLK_Pin|MII_RXD0_Pin
                          |MII_RXD1_Pin;
  GPIO_InitStruct.Mode = GPIO_MODE_AF_PP;
  GPIO_InitStruct.Pull = GPIO_NOPULL;
  GPIO_InitStruct.Speed = GPIO_SPEED_FREQ_LOW;
  GPIO_InitStruct.Alternate = GPIO_AF11_ETH;
  HAL_GPIO_Init(GPIOC, &GPIO_InitStruct);

  /*Configure GPIO pins : MII_CRS_Pin MII_COL_Pin */
  GPIO_InitStruct.Pin = MII_CRS_Pin|MII_COL_Pin;
  GPIO_InitStruct.Mode = GPIO_MODE_AF_PP;
  GPIO_InitStruct.Pull = GPIO_NOPULL;
  GPIO_InitStruct.Speed = GPIO_SPEED_FREQ_LOW;
  GPIO_InitStruct.Alternate = GPIO_AF11_ETH;
  HAL_GPIO_Init(GPIOH, &GPIO_InitStruct);

  /*Configure GPIO pins : MII_MDIO_Pin MII_RX_CLK_Pin MII_RX_DV_Pin */
  GPIO_InitStruct.Pin = MII_MDIO_Pin|MII_RX_CLK_Pin|MII_RX_DV_Pin;
  GPIO_InitStruct.Mode = GPIO_MODE_AF_PP;
  GPIO_InitStruct.Pull = GPIO_NOPULL;
  GPIO_InitStruct.Speed = GPIO_SPEED_FREQ_LOW;
  GPIO_InitStruct.Alternate = GPIO_AF11_ETH;
  HAL_GPIO_Init(GPIOA, &GPIO_InitStruct);

  /*Configure GPIO pins : PH5 PH6 PH7 */
  GPIO_InitStruct.Pin = GPIO_PIN_5|GPIO_PIN_6|GPIO_PIN_7;
  GPIO_InitStruct.Mode = GPIO_MODE_AF_PP;
  GPIO_InitStruct.Pull = GPIO_NOPULL;
  GPIO_InitStruct.Speed = GPIO_SPEED_FREQ_VERY_HIGH;
  GPIO_InitStruct.Alternate = GPIO_AF12_FMC;
  HAL_GPIO_Init(GPIOH, &GPIO_InitStruct);

  /*Configure GPIO pins : VCP_TX_Pin VCP_RX_Pin */
  GPIO_InitStruct.Pin = VCP_TX_Pin|VCP_RX_Pin;
  GPIO_InitStruct.Mode = GPIO_MODE_AF_PP;
  GPIO_InitStruct.Pull = GPIO_NOPULL;
  GPIO_InitStruct.Speed = GPIO_SPEED_FREQ_LOW;
  GPIO_InitStruct.Alternate = GPIO_AF7_USART3;
  HAL_GPIO_Init(GPIOB, &GPIO_InitStruct);

  /*Configure GPIO pin : OTG_FS2_OverCurrent_Pin */
  GPIO_InitStruct.Pin = OTG_FS2_OverCurrent_Pin;
  GPIO_InitStruct.Mode = GPIO_MODE_IT_RISING;
  GPIO_InitStruct.Pull = GPIO_NOPULL;
  HAL_GPIO_Init(OTG_FS2_OverCurrent_GPIO_Port, &GPIO_InitStruct);

  /*Configure GPIO pin : PA6 */
  GPIO_InitStruct.Pin = GPIO_PIN_6;
  GPIO_InitStruct.Mode = GPIO_MODE_AF_PP;
  GPIO_InitStruct.Pull = GPIO_NOPULL;
  GPIO_InitStruct.Speed = GPIO_SPEED_FREQ_LOW;
  GPIO_InitStruct.Alternate = GPIO_AF9_TIM13;
  HAL_GPIO_Init(GPIOA, &GPIO_InitStruct);

  /*Configure GPIO pin : PH9 */
  GPIO_InitStruct.Pin = GPIO_PIN_9;
  GPIO_InitStruct.Mode = GPIO_MODE_AF_PP;
  GPIO_InitStruct.Pull = GPIO_NOPULL;
  GPIO_InitStruct.Speed = GPIO_SPEED_FREQ_LOW;
  GPIO_InitStruct.Alternate = GPIO_AF14_LTDC;
  HAL_GPIO_Init(GPIOH, &GPIO_InitStruct);

  /*Configure GPIO pin : PD11 */
  GPIO_InitStruct.Pin = GPIO_PIN_11;
  GPIO_InitStruct.Mode = GPIO_MODE_AF_PP;
  GPIO_InitStruct.Pull = GPIO_NOPULL;
  GPIO_InitStruct.Speed = GPIO_SPEED_FREQ_LOW;
  GPIO_InitStruct.Alternate = GPIO_AF9_QUADSPI;
  HAL_GPIO_Init(GPIOD, &GPIO_InitStruct);

  /*Configure GPIO pins : MII_RX_D3_Pin MII_RX_D2_Pin */
  GPIO_InitStruct.Pin = MII_RX_D3_Pin|MII_RX_D2_Pin;
  GPIO_InitStruct.Mode = GPIO_MODE_AF_PP;
  GPIO_InitStruct.Pull = GPIO_NOPULL;
  GPIO_InitStruct.Speed = GPIO_SPEED_FREQ_LOW;
  GPIO_InitStruct.Alternate = GPIO_AF11_ETH;
  HAL_GPIO_Init(GPIOB, &GPIO_InitStruct);

  /*Configure GPIO pin : LD1_Pin */
  GPIO_InitStruct.Pin = LD1_Pin;
  GPIO_InitStruct.Mode = GPIO_MODE_OUTPUT_PP;
  GPIO_InitStruct.Pull = GPIO_NOPULL;
  GPIO_InitStruct.Speed = GPIO_SPEED_FREQ_LOW;
  HAL_GPIO_Init(LD1_GPIO_Port, &GPIO_InitStruct);

  /*Configure GPIO pin : LCD_RST_Pin */
  GPIO_InitStruct.Pin = LCD_RST_Pin;
  GPIO_InitStruct.Mode = GPIO_MODE_OUTPUT_PP;
  GPIO_InitStruct.Pull = GPIO_NOPULL;
  GPIO_InitStruct.Speed = GPIO_SPEED_FREQ_LOW;
  HAL_GPIO_Init(LCD_RST_GPIO_Port, &GPIO_InitStruct);

  /*Configure GPIO pin : PB15 */
  GPIO_InitStruct.Pin = GPIO_PIN_15;
  GPIO_InitStruct.Mode = GPIO_MODE_AF_PP;
  GPIO_InitStruct.Pull = GPIO_NOPULL;
  GPIO_InitStruct.Speed = GPIO_SPEED_FREQ_LOW;
  GPIO_InitStruct.Alternate = GPIO_AF5_SPI2;
  HAL_GPIO_Init(GPIOB, &GPIO_InitStruct);

  /*AnalogSwitch Config */
  HAL_SYSCFG_AnalogSwitchConfig(SYSCFG_SWITCH_PA0, SYSCFG_SWITCH_PA0_OPEN);

  /*AnalogSwitch Config */
  HAL_SYSCFG_AnalogSwitchConfig(SYSCFG_SWITCH_PA1, SYSCFG_SWITCH_PA1_OPEN);

}

/* USER CODE BEGIN 4 */

void FillBuffer(float* buffer, uint32_t size)
{
  uint32_t i = 0;
  uint32_t step = AXIS_NUMBER;

  if(counterOfTestData == 0) {
	  timestamp = htim16.Instance->CNT;
  }

  while (i < size)
  {
	  buffer[i] = testData[counterOfTestData];

	  counterOfTestData++;

	  i += step;
  }
}

void Inference(void)
{
  uint16_t id_class;

  FillBuffer(input_user_buffer,SIGNAL_SIZE);
  neai_classification(input_user_buffer,output_class_buffer,&id_class);

  //snprintf(SendBuffer,BUFSIZE,"Class: %s [%u%%]\r\n",id2class[id_class],(uint)(output_class_buffer[id_class-1]*100));
  //CDC_Transmit_FS(SendBuffer,strlen(SendBuffer));

  if(counterOfTestData == sizeOfTestData) {
	  counterOfTestData = 0;

	  uint32_t duration = htim16.Instance->CNT;

	  if(duration >= timestamp)
	  	duration -= timestamp;
	  else
	  	duration += (65535 - timestamp) + 1; //+1 because of counting from 0 onwards

	  //snprintf(SendBuffer,BUFSIZE,"Trajanje izvajanja: %lu mikrosekund. \r\n", duration);
	  //CDC_Transmit_FS(SendBuffer,strlen(SendBuffer));

	  averageDurationValue += duration;
	  countDurations++;

	  if(countDurations == numberOfDurations) {
	  	snprintf(SendBuffer,BUFSIZE,"Trajanje izvajanja: [%lu] %lu mikrosekund. \r\n", averageDurationValue, averageDurationValue / 100);
	  	CDC_Transmit_FS(SendBuffer,strlen(SendBuffer));

	  	countDurations = 0;
	  	averageDurationValue = 0;
	  }
  }

}

/* USER CODE END 4 */

void Error_Handler(void)
{
  __disable_irq();
  while (1)
  {
  }
}
